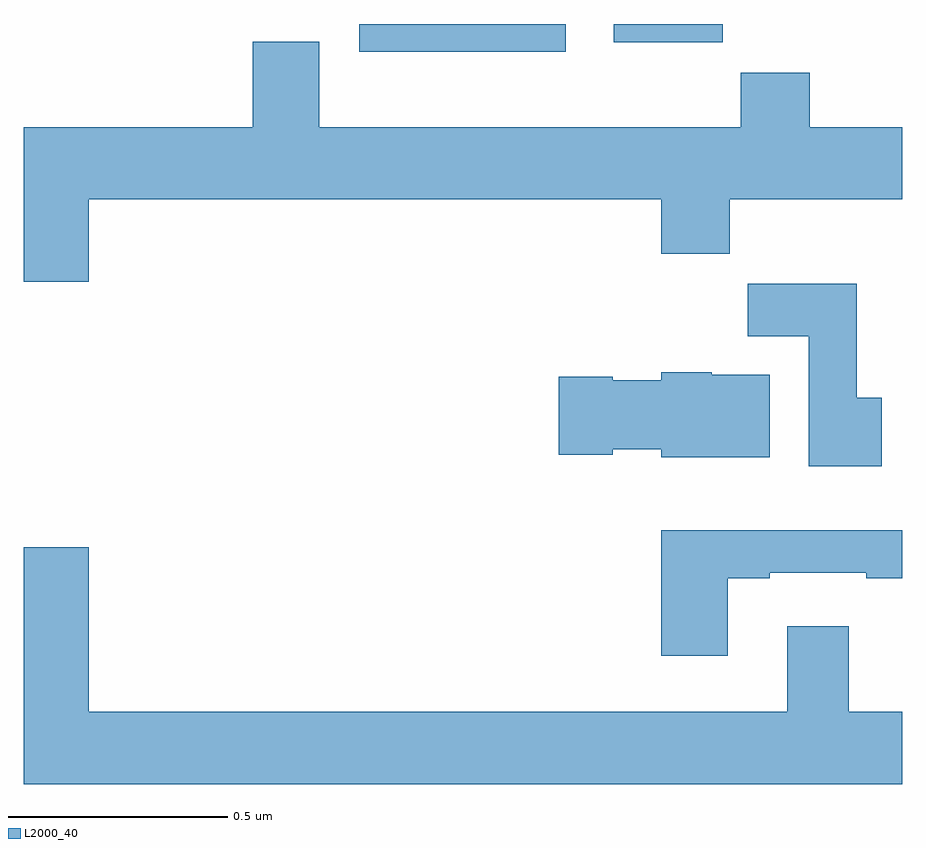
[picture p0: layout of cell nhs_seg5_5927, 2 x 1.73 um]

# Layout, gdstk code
import gdstk
lib = gdstk.Library(unit=1e-6, precision=1e-09)
def R(c, l, rs):  # rectangles x0, y0, x1, y1
    for r in rs: c.add(gdstk.rectangle(r[:2], r[2:], *l))
def P(c, l, *ps):  # polygons
    for p in ps: c.add(gdstk.Polygon(p, *l))
L2000_40 = (2000, 40)

nhs_seg5_5927 = lib.new_cell('nhs_seg5_5927')
R(nhs_seg5_5927, L2000_40, [(189.764,883.736,190.234,883.799), (190.343,883.758,190.592,883.799)])
P(nhs_seg5_5927, L2000_40, [(189.148,883.4),(190.451,883.4),(190.451,883.276),(190.607,883.276),(190.607,883.4),(191,883.4),(191,883.564),(190.79,883.564),(190.79,883.688),(190.633,883.688),(190.633,883.564),(189.673,883.564),(189.673,883.759),(189.521,883.759),(189.521,883.564),(189,883.564),(189,883.212),(189.148,883.212)],
  [(190.954,882.948),(190.897,882.948),(190.897,883.207),(190.648,883.207),(190.648,883.088),(190.787,883.088),(190.787,882.792),(190.954,882.792)],
  [(190.699,883),(190.566,883),(190.566,883.006),(190.452,883.006),(190.452,882.988),(190.341,882.988),(190.341,882.996),(190.218,882.996),(190.218,882.818),(190.341,882.818),(190.341,882.83),(190.452,882.83),(190.452,882.812),(190.699,882.812)],
  [(190.603,882.537),(190.699,882.537),(190.699,882.549),(190.919,882.549),(190.919,882.537),(191,882.537),(191,882.646),(190.451,882.646),(190.451,882.36),(190.603,882.36)],
  [(191,882.232),(190.879,882.232),(190.879,882.427),(190.739,882.427),(190.739,882.232),(189.148,882.232),(189.148,882.607),(189,882.607),(189,882.068),(191,882.068)])

lib.write_gds('nhs_seg5_5927.gds')
